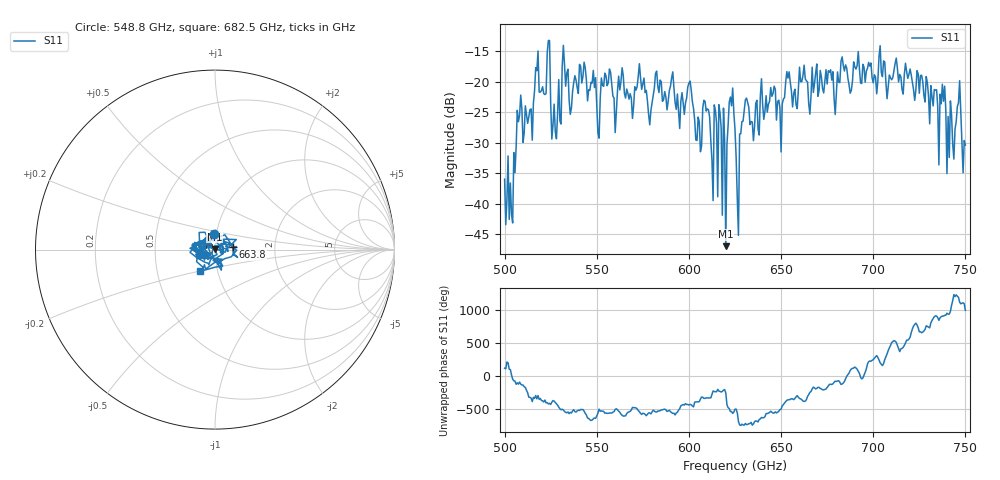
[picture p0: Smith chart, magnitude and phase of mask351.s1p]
!Created with skrf (http://scikit-rf.org).
# GHz S MA R 50.0
!freq magS11 angS11
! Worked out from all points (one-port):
!   401 points, 500 GHz to 750 GHz, reference 50 ohm
!   lowest |S11| = -46.9 dB at 620 GHz (marker M1), VSWR 1.01, Z = 49.8 + j0.424 ohm
!   |S11| at or under -10 dB: start of sweep to end of sweep
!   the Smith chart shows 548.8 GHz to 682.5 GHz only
!   S11 on the Smith chart (normalised r, x): 548.8 GHz: 0.98, +0.18; 663.8 GHz: 1.22, +0.04; 682.5 GHz: 0.83, -0.20
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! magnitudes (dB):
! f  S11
! 500 GHz  -36.0
! 503.8 GHz  -41.7
! 508.1 GHz  -25.5
! 513.8 GHz  -24.6
! 517.5 GHz  -18.2
! 523.8 GHz  -13.3
! 526.9 GHz  -23.7
! 531.2 GHz  -17.5
! 548.8 GHz  -21.0
! 562.5 GHz  -21.4
! 593.8 GHz  -22.0
! 600.6 GHz  -19.9
! 605 GHz  -25.8
! 609.4 GHz  -24.8
! 611.9 GHz  -29.7
! 620 GHz  -46.9
! 623.1 GHz  -24.0
! 625 GHz  -27.8
! 626.9 GHz  -45.1
! 631.2 GHz  -22.7
! 656.2 GHz  -24.1
! 663.8 GHz  -19.9
! 682.5 GHz  -16.7
! 687.5 GHz  -21.9
! 718.8 GHz  -19.5
! 742.5 GHz  -25.5
! 746.2 GHz  -23.5
! 750 GHz  -30.4
